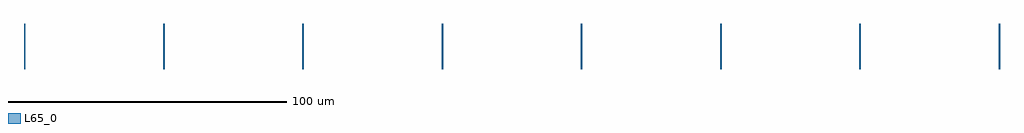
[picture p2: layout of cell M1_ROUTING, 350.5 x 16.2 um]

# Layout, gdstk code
import gdstk
lib = gdstk.Library(unit=1e-6, precision=1e-09)
L65_0 = (65, 0)

m1_routing = lib.new_cell('M1_ROUTING')
m1_routing.add(gdstk.FlexPath([(-134.17,13.1),(-134.17,-3.1)], 0.5, ends="flush", simple_path=True, layer=65, datatype=0))  # L65_0
m1_routing.add(gdstk.FlexPath([(-84.17,13.1),(-84.17,-3.1)], 0.5, ends="flush", simple_path=True, layer=65, datatype=0))  # L65_0
m1_routing.add(gdstk.FlexPath([(-34.17,13.1),(-34.17,-3.1)], 0.5, ends="flush", simple_path=True, layer=65, datatype=0))  # L65_0
m1_routing.add(gdstk.FlexPath([(15.83,13.1),(15.83,-3.1)], 0.5, ends="flush", simple_path=True, layer=65, datatype=0))  # L65_0
m1_routing.add(gdstk.FlexPath([(65.83,13.1),(65.83,-3.1)], 0.5, ends="flush", simple_path=True, layer=65, datatype=0))  # L65_0
m1_routing.add(gdstk.FlexPath([(115.83,13.1),(115.83,-3.1)], 0.5, ends="flush", simple_path=True, layer=65, datatype=0))  # L65_0
m1_routing.add(gdstk.FlexPath([(165.83,13.1),(165.83,-3.1)], 0.5, ends="flush", simple_path=True, layer=65, datatype=0))  # L65_0
m1_routing.add(gdstk.FlexPath([(215.83,13.1),(215.83,-3.1)], 0.5, ends="flush", simple_path=True, layer=65, datatype=0))  # L65_0

lib.write_gds('M1_ROUTING.gds')
